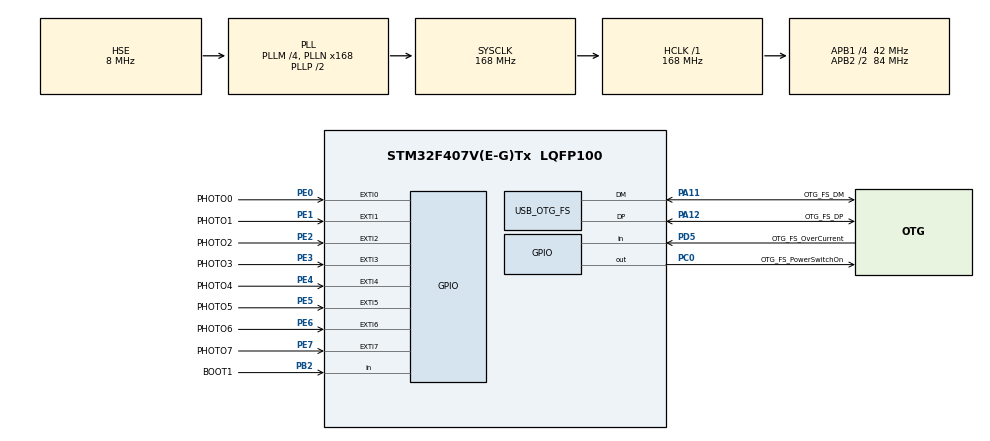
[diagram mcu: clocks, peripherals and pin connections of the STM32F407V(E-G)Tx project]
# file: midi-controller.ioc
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Mcu.Family=STM32F4
Mcu.Name=STM32F407V(E-G)Tx
Mcu.Package=LQFP100
NVIC.EXTI0_IRQn=true\:0\:0\:false\:false\:true\:true\:true\:true
NVIC.EXTI1_IRQn=true\:0\:0\:false\:false\:true\:true\:true\:true
NVIC.EXTI2_IRQn=true\:0\:0\:false\:false\:true\:true\:true\:true
NVIC.EXTI3_IRQn=true\:0\:0\:false\:false\:true\:true\:true\:true
NVIC.EXTI4_IRQn=true\:0\:0\:false\:false\:true\:true\:true\:true
NVIC.EXTI9_5_IRQn=true\:0\:0\:false\:false\:true\:true\:true\:true
NVIC.OTG_FS_IRQn=true\:0\:0\:false\:false\:true\:true\:true\:true
NVIC.PriorityGroup=NVIC_PRIORITYGROUP_0
PA10.GPIO_Label=OTG_FS_ID
PA10.GPIO_Mode=GPIO_MODE_AF_PP
PA10.GPIO_PuPd=GPIO_NOPULL
PA10.GPIO_Speed=GPIO_SPEED_FREQ_LOW
PA10.Signal=USB_OTG_FS_ID
PA11.GPIO_Label=OTG_FS_DM
PA11.GPIO_Mode=GPIO_MODE_AF_PP
PA11.GPIO_PuPd=GPIO_NOPULL
PA11.GPIO_Speed=GPIO_SPEED_FREQ_LOW
PA11.Mode=Device_Only
PA11.Signal=USB_OTG_FS_DM
PA12.GPIO_Label=OTG_FS_DP
PA12.GPIO_Mode=GPIO_MODE_AF_PP
PA12.GPIO_PuPd=GPIO_NOPULL
PA12.GPIO_Speed=GPIO_SPEED_FREQ_LOW
PA12.Mode=Device_Only
PA12.Signal=USB_OTG_FS_DP
PA13.GPIO_Label=SWDIO
PA13.Signal=SYS_JTMS-SWDIO
PA14.GPIO_Label=SWCLK
PA14.Signal=SYS_JTCK-SWCLK
PA9.GPIO_Label=VBUS_FS
PA9.GPIO_Mode=GPIO_MODE_INPUT
PA9.GPIO_PuPd=GPIO_NOPULL
PA9.Signal=USB_OTG_FS_VBUS
PB10.GPIO_Label=CLK_IN [MP45DT02_CLK]
PB10.GPIO_Mode=GPIO_MODE_AF_PP
PB10.GPIO_PuPd=GPIO_NOPULL
PB10.GPIO_Speed=GPIO_SPEED_FREQ_LOW
PB10.Signal=I2S2_CK
PB2.GPIO_Label=BOOT1
PB2.GPIO_Mode=GPIO_MODE_INPUT
PB2.GPIO_PuPd=GPIO_NOPULL
PB2.Signal=GPIO_Input
PB3.GPIO_Label=SWO
PB3.Signal=SYS_JTDO-SWO
PB6.GPIO_Label=Audio_SCL [CS43L22_SCL]
PB6.GPIO_Mode=GPIO_MODE_AF_OD
PB6.GPIO_PuPd=GPIO_NOPULL
PB6.GPIO_Speed=GPIO_SPEED_FREQ_LOW
PB6.Signal=I2C1_SCL
PB9.GPIO_Label=Audio_SDA [CS43L22_SDA]
PB9.GPIO_Mode=GPIO_MODE_AF_OD
PB9.GPIO_PuPd=GPIO_NOPULL
PB9.GPIO_Speed=GPIO_SPEED_FREQ_LOW
PB9.Signal=I2C1_SDA
PC0.GPIO_Label=OTG_FS_PowerSwitchOn
PC0.GPIO_PuPd=GPIO_NOPULL
PC0.GPIO_Speed=GPIO_SPEED_FREQ_LOW
PC0.PinState=GPIO_PIN_SET
PC0.Signal=GPIO_Output
PC10.GPIO_Label=I2S3_SCK [CS43L22_SCLK]
PC10.GPIO_Mode=GPIO_MODE_AF_PP
PC10.GPIO_PuPd=GPIO_NOPULL
PC10.GPIO_Speed=GPIO_SPEED_FREQ_LOW
PC10.Signal=I2S3_CK
PC12.GPIO_Label=I2S3_SD [CS43L22_SDIN]
PC12.GPIO_Mode=GPIO_MODE_AF_PP
PC12.GPIO_PuPd=GPIO_NOPULL
PC12.GPIO_Speed=GPIO_SPEED_FREQ_LOW
PC12.Signal=I2S3_SD
PC14-OSC32_IN.GPIO_Label=PC14-OSC32_IN
PC14-OSC32_IN.Signal=RCC_OSC32_IN
PC15-OSC32_OUT.GPIO_Label=PC15-OSC32_OUT
PC15-OSC32_OUT.Signal=RCC_OSC32_OUT
PC3.GPIO_Label=PDM_OUT [MP45DT02_DOUT]
PC3.GPIO_Mode=GPIO_MODE_AF_PP
PC3.GPIO_PuPd=GPIO_NOPULL
PC3.GPIO_Speed=GPIO_SPEED_FREQ_LOW
PC3.Signal=I2S2_SD
PC7.GPIO_Label=I2S3_MCK [CS43L22_MCLK]
PC7.GPIO_Mode=GPIO_MODE_AF_PP
PC7.GPIO_PuPd=GPIO_NOPULL
PC7.GPIO_Speed=GPIO_SPEED_FREQ_LOW
PC7.Signal=I2S3_MCK
PD5.GPIO_Label=OTG_FS_OverCurrent
PD5.GPIO_Mode=GPIO_MODE_INPUT
PD5.GPIO_PuPd=GPIO_NOPULL
PD5.Signal=GPIO_Input
PE0.GPIO_Label=PHOTO0
PE0.GPIO_ModeDefaultEXTI=GPIO_MODE_IT_RISING_FALLING
PE0.Signal=GPXTI0
PE1.GPIO_Label=PHOTO1
PE1.GPIO_ModeDefaultEXTI=GPIO_MODE_IT_RISING_FALLING
PE1.Signal=GPXTI1
PE2.GPIO_Label=PHOTO2
PE2.GPIO_ModeDefaultEXTI=GPIO_MODE_IT_RISING_FALLING
PE2.Signal=GPXTI2
PE3.GPIO_Label=PHOTO3
PE3.GPIO_ModeDefaultEXTI=GPIO_MODE_IT_RISING_FALLING
PE3.Signal=GPXTI3
PE4.GPIO_Label=PHOTO4
PE4.GPIO_ModeDefaultEXTI=GPIO_MODE_IT_RISING_FALLING
PE4.Signal=GPXTI4
PE5.GPIO_Label=PHOTO5
PE5.GPIO_ModeDefaultEXTI=GPIO_MODE_IT_RISING_FALLING
PE5.Signal=GPXTI5
PE6.GPIO_Label=PHOTO6
PE6.GPIO_ModeDefaultEXTI=GPIO_MODE_IT_RISING_FALLING
PE6.Signal=GPXTI6
PE7.GPIO_Label=PHOTO7
PE7.GPIO_ModeDefaultEXTI=GPIO_MODE_IT_RISING_FALLING
PE7.Signal=GPXTI7
PH0-OSC_IN.GPIO_Label=PH0-OSC_IN
PH0-OSC_IN.Mode=HSE-External-Oscillator
PH0-OSC_IN.Signal=RCC_OSC_IN
PH1-OSC_OUT.GPIO_Label=PH1-OSC_OUT
PH1-OSC_OUT.Mode=HSE-External-Oscillator
PH1-OSC_OUT.Signal=RCC_OSC_OUT
ProjectManager.HeapSize=0x200
ProjectManager.StackSize=0x400
ProjectManager.TargetToolchain=STM32CubeIDE
RCC.48MHZClocksFreq_Value=48000000
RCC.AHBFreq_Value=168000000
RCC.APB1CLKDivider=RCC_HCLK_DIV4
RCC.APB1Freq_Value=42000000
RCC.APB1TimFreq_Value=84000000
RCC.APB2CLKDivider=RCC_HCLK_DIV2
RCC.APB2Freq_Value=84000000
RCC.APB2TimFreq_Value=168000000
RCC.CortexFreq_Value=168000000
RCC.HCLKFreq_Value=168000000
RCC.HSE_VALUE=8000000
RCC.HSI_VALUE=16000000
RCC.LSE_VALUE=32768
RCC.PLLM=4
RCC.PLLN=168
RCC.PLLQ=7
RCC.SYSCLKFreq_VALUE=168000000
RCC.SYSCLKSource=RCC_SYSCLKSOURCE_PLLCLK
RCC.VCOOutputFreq_Value=336000000
USB_OTG_FS.VirtualMode=Device_Only
board=STM32F407G-DISC1

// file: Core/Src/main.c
/* USER CODE BEGIN Header */
/**
 ******************************************************************************
 * @file           : main.c
 * @brief          : Main program body
 ******************************************************************************
 * @attention
 *
 * Copyright (c) 2026 STMicroelectronics.
 * All rights reserved.
 *
 * This software is licensed under terms that can be found in the LICENSE file
 * in the root directory of this software component.
 * If no LICENSE file comes with this software, it is provided AS-IS.
 *
 ******************************************************************************
 */
/* USER CODE END Header */
#include "main.h"

/* USER CODE BEGIN Includes */
#include "tusb.h"
#include "board_api.h"
#include <stdlib.h>
#include <stdio.h>
#include <string.h>
/* USER CODE END Includes */

PCD_HandleTypeDef hpcd_USB_OTG_FS;

/* USER CODE BEGIN PV */
uint32_t ticks = 0;
/* USER CODE END PV */

void SystemClock_Config(void);
static void MX_GPIO_Init(void);
static void MX_USB_OTG_FS_PCD_Init(void);

/* USER CODE BEGIN 0 */
void send_midi_note_on(uint8_t note, uint8_t velocity)
{
	uint8_t const cable_num = 0;
	uint8_t const channel = 0;

	uint8_t msg[3] = {
			0x90 | channel,
			note,
			velocity
	};

	tud_midi_stream_write(cable_num, msg, 3);
}

void send_midi_note_off(uint8_t note)
{
	uint8_t const cable_num = 0;
	uint8_t const channel = 0;

	uint8_t msg[3] = {
			0x80 | channel,
			note,
			0
	};

	tud_midi_stream_write(cable_num, msg, 3);
}

uint8_t notes[8] = {60, 62, 64, 65, 67, 69, 71, 72};
uint32_t last_ticks[8] = {0};
uint32_t debounce_delay = 15; // in ms

void HAL_GPIO_EXTI_Callback(uint16_t GPIO_Pin)
{
	uint8_t pin_number = __builtin_ctz(GPIO_Pin); //convert from HAL bitmask to index

	if ((ticks - last_ticks[pin_number]) > debounce_delay)
	{
		GPIO_PinState state = HAL_GPIO_ReadPin(GPIOE, GPIO_Pin);

		if (state == GPIO_PIN_SET)
		{
			send_midi_note_off(notes[pin_number]);
		}
		else
		{
			send_midi_note_on(notes[pin_number], 127);
		}
		last_ticks[pin_number] = ticks;
	}
}

/* USER CODE END 0 */

int main(void)
{

  /* MCU Configuration--------------------------------------------------------*/

  /* Reset of all peripherals, Initializes the Flash interface and the Systick. */
  HAL_Init();

  /* Configure the system clock */
  SystemClock_Config();

  /* USER CODE BEGIN SysInit */
  SysTick_Config(168000);
  /* USER CODE END SysInit */

  /* Initialize all configured peripherals */
  MX_GPIO_Init();
  MX_USB_OTG_FS_PCD_Init();
  /* USER CODE BEGIN 2 */
	tusb_rhport_init_t dev_init = {
			.role = TUSB_ROLE_DEVICE,
			.speed = TUSB_SPEED_FULL
	};
	tusb_init(0, &dev_init);
  /* USER CODE END 2 */

  /* Infinite loop */
  /* USER CODE BEGIN WHILE */
	while (1)
	{
		tud_task();
	}
    /* USER CODE END WHILE */

}

void SystemClock_Config(void)
{
  RCC_OscInitTypeDef RCC_OscInitStruct = {0};
  RCC_ClkInitTypeDef RCC_ClkInitStruct = {0};

  /** Configure the main internal regulator output voltage
  */
  __HAL_RCC_PWR_CLK_ENABLE();
  __HAL_PWR_VOLTAGESCALING_CONFIG(PWR_REGULATOR_VOLTAGE_SCALE1);

  /** Initializes the RCC Oscillators according to the specified parameters
  * in the RCC_OscInitTypeDef structure.
  */
  RCC_OscInitStruct.OscillatorType = RCC_OSCILLATORTYPE_HSE;
  RCC_OscInitStruct.HSEState = RCC_HSE_ON;
  RCC_OscInitStruct.PLL.PLLState = RCC_PLL_ON;
  RCC_OscInitStruct.PLL.PLLSource = RCC_PLLSOURCE_HSE;
  RCC_OscInitStruct.PLL.PLLM = 4;
  RCC_OscInitStruct.PLL.PLLN = 168;
  RCC_OscInitStruct.PLL.PLLP = RCC_PLLP_DIV2;
  RCC_OscInitStruct.PLL.PLLQ = 7;
  if (HAL_RCC_OscConfig(&RCC_OscInitStruct) != HAL_OK)
  {
    Error_Handler();
  }

  /** Initializes the CPU, AHB and APB buses clocks
  */
  RCC_ClkInitStruct.ClockType = RCC_CLOCKTYPE_HCLK|RCC_CLOCKTYPE_SYSCLK
                              |RCC_CLOCKTYPE_PCLK1|RCC_CLOCKTYPE_PCLK2;
  RCC_ClkInitStruct.SYSCLKSource = RCC_SYSCLKSOURCE_PLLCLK;
  RCC_ClkInitStruct.AHBCLKDivider = RCC_SYSCLK_DIV1;
  RCC_ClkInitStruct.APB1CLKDivider = RCC_HCLK_DIV4;
  RCC_ClkInitStruct.APB2CLKDivider = RCC_HCLK_DIV2;

  if (HAL_RCC_ClockConfig(&RCC_ClkInitStruct, FLASH_LATENCY_5) != HAL_OK)
  {
    Error_Handler();
  }
}

static void MX_USB_OTG_FS_PCD_Init(void)
{

  hpcd_USB_OTG_FS.Instance = USB_OTG_FS;
  hpcd_USB_OTG_FS.Init.dev_endpoints = 4;
  hpcd_USB_OTG_FS.Init.speed = PCD_SPEED_FULL;
  hpcd_USB_OTG_FS.Init.dma_enable = DISABLE;
  hpcd_USB_OTG_FS.Init.phy_itface = PCD_PHY_EMBEDDED;
  hpcd_USB_OTG_FS.Init.Sof_enable = DISABLE;
  hpcd_USB_OTG_FS.Init.low_power_enable = DISABLE;
  hpcd_USB_OTG_FS.Init.lpm_enable = DISABLE;
  hpcd_USB_OTG_FS.Init.vbus_sensing_enable = DISABLE;
  hpcd_USB_OTG_FS.Init.use_dedicated_ep1 = DISABLE;
  if (HAL_PCD_Init(&hpcd_USB_OTG_FS) != HAL_OK)
  {
    Error_Handler();
  }

}

static void MX_GPIO_Init(void)
{
  GPIO_InitTypeDef GPIO_InitStruct = {0};

  /* GPIO Ports Clock Enable */
  __HAL_RCC_GPIOE_CLK_ENABLE();
  __HAL_RCC_GPIOC_CLK_ENABLE();
  __HAL_RCC_GPIOH_CLK_ENABLE();
  __HAL_RCC_GPIOB_CLK_ENABLE();
  __HAL_RCC_GPIOA_CLK_ENABLE();
  __HAL_RCC_GPIOD_CLK_ENABLE();

  /*Configure GPIO pin Output Level */
  HAL_GPIO_WritePin(OTG_FS_PowerSwitchOn_GPIO_Port, OTG_FS_PowerSwitchOn_Pin, GPIO_PIN_SET);

  /*Configure GPIO pins : PHOTO2_Pin PHOTO3_Pin PHOTO4_Pin PHOTO5_Pin
                           PHOTO6_Pin PHOTO7_Pin PHOTO0_Pin PHOTO1_Pin */
  GPIO_InitStruct.Pin = PHOTO2_Pin|PHOTO3_Pin|PHOTO4_Pin|PHOTO5_Pin
                          |PHOTO6_Pin|PHOTO7_Pin|PHOTO0_Pin|PHOTO1_Pin;
  GPIO_InitStruct.Mode = GPIO_MODE_IT_RISING_FALLING;
  GPIO_InitStruct.Pull = GPIO_NOPULL;
  HAL_GPIO_Init(GPIOE, &GPIO_InitStruct);

  /*Configure GPIO pin : OTG_FS_PowerSwitchOn_Pin */
  GPIO_InitStruct.Pin = OTG_FS_PowerSwitchOn_Pin;
  GPIO_InitStruct.Mode = GPIO_MODE_OUTPUT_PP;
  GPIO_InitStruct.Pull = GPIO_NOPULL;
  GPIO_InitStruct.Speed = GPIO_SPEED_FREQ_LOW;
  HAL_GPIO_Init(OTG_FS_PowerSwitchOn_GPIO_Port, &GPIO_InitStruct);

  /*Configure GPIO pin : PDM_OUT_Pin */
  GPIO_InitStruct.Pin = PDM_OUT_Pin;
  GPIO_InitStruct.Mode = GPIO_MODE_AF_PP;
  GPIO_InitStruct.Pull = GPIO_NOPULL;
  GPIO_InitStruct.Speed = GPIO_SPEED_FREQ_LOW;
  GPIO_InitStruct.Alternate = GPIO_AF5_SPI2;
  HAL_GPIO_Init(PDM_OUT_GPIO_Port, &GPIO_InitStruct);

  /*Configure GPIO pin : BOOT1_Pin */
  GPIO_InitStruct.Pin = BOOT1_Pin;
  GPIO_InitStruct.Mode = GPIO_MODE_INPUT;
  GPIO_InitStruct.Pull = GPIO_NOPULL;
  HAL_GPIO_Init(BOOT1_GPIO_Port, &GPIO_InitStruct);

  /*Configure GPIO pin : CLK_IN_Pin */
  GPIO_InitStruct.Pin = CLK_IN_Pin;
  GPIO_InitStruct.Mode = GPIO_MODE_AF_PP;
  GPIO_InitStruct.Pull = GPIO_NOPULL;
  GPIO_InitStruct.Speed = GPIO_SPEED_FREQ_LOW;
  GPIO_InitStruct.Alternate = GPIO_AF5_SPI2;
  HAL_GPIO_Init(CLK_IN_GPIO_Port, &GPIO_InitStruct);

  /*Configure GPIO pins : I2S3_MCK_Pin I2S3_SCK_Pin I2S3_SD_Pin */
  GPIO_InitStruct.Pin = I2S3_MCK_Pin|I2S3_SCK_Pin|I2S3_SD_Pin;
  GPIO_InitStruct.Mode = GPIO_MODE_AF_PP;
  GPIO_InitStruct.Pull = GPIO_NOPULL;
  GPIO_InitStruct.Speed = GPIO_SPEED_FREQ_LOW;
  GPIO_InitStruct.Alternate = GPIO_AF6_SPI3;
  HAL_GPIO_Init(GPIOC, &GPIO_InitStruct);

  /*Configure GPIO pin : OTG_FS_OverCurrent_Pin */
  GPIO_InitStruct.Pin = OTG_FS_OverCurrent_Pin;
  GPIO_InitStruct.Mode = GPIO_MODE_INPUT;
  GPIO_InitStruct.Pull = GPIO_NOPULL;
  HAL_GPIO_Init(OTG_FS_OverCurrent_GPIO_Port, &GPIO_InitStruct);

  /*Configure GPIO pins : Audio_SCL_Pin Audio_SDA_Pin */
  GPIO_InitStruct.Pin = Audio_SCL_Pin|Audio_SDA_Pin;
  GPIO_InitStruct.Mode = GPIO_MODE_AF_OD;
  GPIO_InitStruct.Pull = GPIO_NOPULL;
  GPIO_InitStruct.Speed = GPIO_SPEED_FREQ_LOW;
  GPIO_InitStruct.Alternate = GPIO_AF4_I2C1;
  HAL_GPIO_Init(GPIOB, &GPIO_InitStruct);

  /* EXTI interrupt init*/
  HAL_NVIC_SetPriority(EXTI0_IRQn, 0, 0);
  HAL_NVIC_EnableIRQ(EXTI0_IRQn);

  HAL_NVIC_SetPriority(EXTI1_IRQn, 0, 0);
  HAL_NVIC_EnableIRQ(EXTI1_IRQn);

  HAL_NVIC_SetPriority(EXTI2_IRQn, 0, 0);
  HAL_NVIC_EnableIRQ(EXTI2_IRQn);

  HAL_NVIC_SetPriority(EXTI3_IRQn, 0, 0);
  HAL_NVIC_EnableIRQ(EXTI3_IRQn);

  HAL_NVIC_SetPriority(EXTI4_IRQn, 0, 0);
  HAL_NVIC_EnableIRQ(EXTI4_IRQn);

  HAL_NVIC_SetPriority(EXTI9_5_IRQn, 0, 0);
  HAL_NVIC_EnableIRQ(EXTI9_5_IRQn);

}

void Error_Handler(void)
{
	__disable_irq();
	while (1)
	{
	}
}
